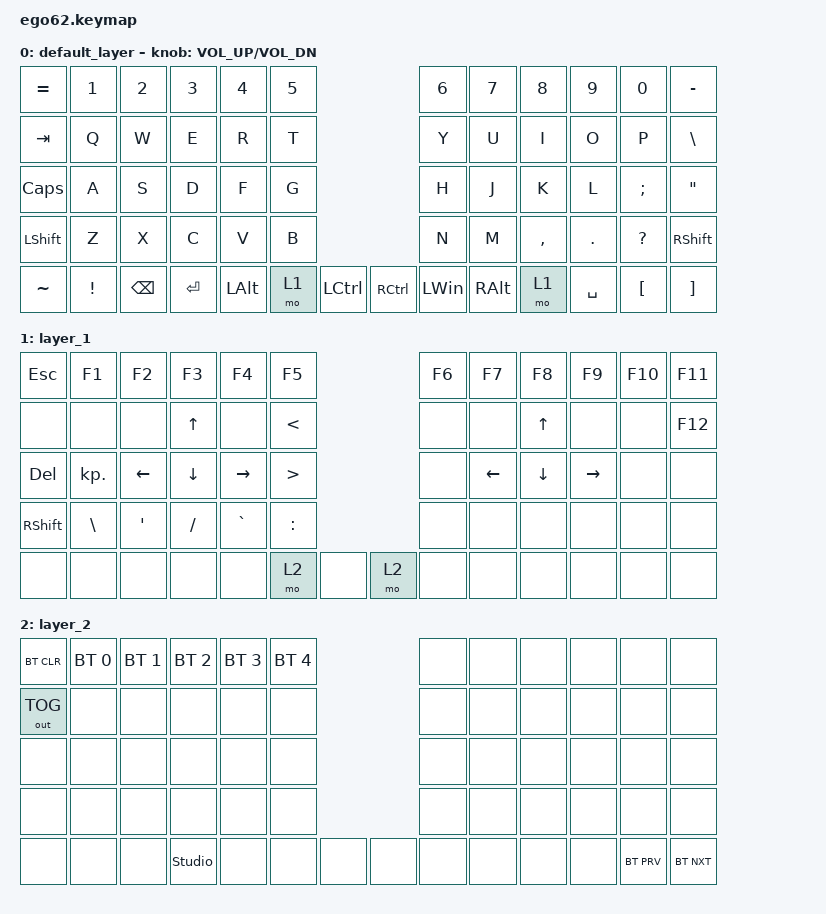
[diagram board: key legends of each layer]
/*
 * Copyright (c) 2020 The ZMK Contributors
 *
 * SPDX-License-Identifier: MIT
 */

#include <behaviors.dtsi>
#include <dt-bindings/zmk/bt.h>
#include <dt-bindings/zmk/keys.h>
#include <dt-bindings/zmk/outputs.h>

/ {
    keymap {
        compatible = "zmk,keymap";

        default_layer {
            bindings = <
&kp EQUAL     &kp N1    &kp N2         &kp N3     &kp N4    &kp N5                        &kp N6        &kp N7         &kp N8     &kp N9     &kp N0         &kp MINUS
&kp TAB       &kp Q     &kp W          &kp E      &kp R     &kp T                         &kp Y         &kp U          &kp I      &kp O      &kp P          &kp BACKSLASH
&kp CAPSLOCK  &kp A     &kp S          &kp D      &kp F     &kp G                         &kp H         &kp J          &kp K      &kp L      &kp SEMICOLON  &kp DQT
&kp LSHFT     &kp Z     &kp X          &kp C      &kp V     &kp B                         &kp N         &kp M          &kp COMMA  &kp DOT    &kp QMARK      &kp RSHIFT
&kp TILDE     &kp EXCL  &kp BACKSPACE  &kp ENTER  &kp LALT  &mo 1   &kp LCTRL  &kp RCTRL  &kp LEFT_WIN  &kp RIGHT_ALT  &mo 1      &kp SPACE  &kp LBKT       &kp RBKT
            >;

            sensor-bindings = <&inc_dec_kp C_VOL_UP C_VOL_DN>;
        };

        layer_1 {
            bindings = <
&kp ESC    &kp F1         &kp F2    &kp F3        &kp F4     &kp F5                          &kp F6  &kp F7    &kp F8    &kp F9     &kp F10  &kp F11
&none      &none          &none     &kp UP_ARROW  &none      &kp LESS_THAN                   &none   &none     &kp UP    &none      &none    &kp F12
&kp DEL    &kp KP_DOT     &kp LEFT  &kp DOWN      &kp RIGHT  &kp GREATER_THAN                &none   &kp LEFT  &kp DOWN  &kp RIGHT  &none    &none
&kp RSHFT  &kp BACKSLASH  &kp SQT   &kp FSLH      &kp GRAVE  &kp COLON                       &none   &none     &none     &none      &none    &none
&none      &none          &none     &none         &none      &mo 2             &none  &mo 2  &none   &none     &none     &none      &none    &none
            >;
        };

        layer_2 {
            bindings = <
&bt BT_CLR    &bt BT_SEL 0  &bt BT_SEL 1  &bt BT_SEL 2    &bt BT_SEL 3  &bt BT_SEL 4                &none  &none  &none  &none  &none       &none
&out OUT_TOG  &none         &none         &none           &none         &none                       &none  &none  &none  &none  &none       &none
&none         &none         &none         &none           &none         &none                       &none  &none  &none  &none  &none       &none
&none         &none         &none         &none           &none         &none                       &none  &none  &none  &none  &none       &none
&none         &none         &none         &studio_unlock  &none         &none         &none  &none  &none  &none  &none  &none  &bt BT_PRV  &bt BT_NXT
            >;
        };
    };
};
